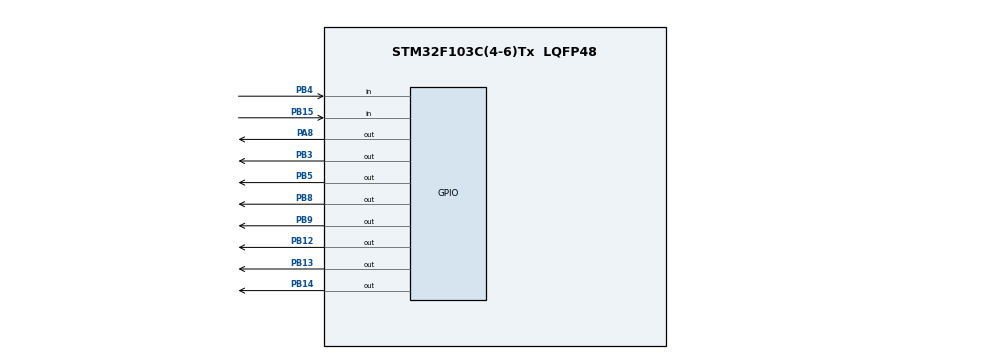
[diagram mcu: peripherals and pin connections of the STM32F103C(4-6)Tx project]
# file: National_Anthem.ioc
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Mcu.Family=STM32F1
PB13.Signal=GPIO_Output
PB15.Signal=GPIO_Input
ProjectManager.StackSize=0x400
PA13.Signal=SYS_JTMS-SWDIO
ProjectManager.TargetToolchain=STM32CubeIDE
PB4.GPIO_PuPd=GPIO_PULLUP
PB14.Signal=GPIO_Output
board=custom
RCC.APB2Freq_Value=8000000
PA14.Mode=Serial_Wire
PA8.Signal=GPIO_Output
PA13.Mode=Serial_Wire
Mcu.Name=STM32F103C(4-6)Tx
PB3.Signal=GPIO_Output
Mcu.Package=LQFP48
PB5.Signal=GPIO_Output
PB9.Signal=GPIO_Output
PB15.GPIO_PuPd=GPIO_PULLUP
PA14.Signal=SYS_JTCK-SWCLK
ProjectManager.HeapSize=0x200
NVIC.PriorityGroup=NVIC_PRIORITYGROUP_4
PB8.Signal=GPIO_Output
RCC.APB1Freq_Value=8000000
PB12.Signal=GPIO_Output
PB4.Signal=GPIO_Input

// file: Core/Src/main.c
/* USER CODE BEGIN Header */
/**
  ******************************************************************************
  * @file           : main.c
  * @brief          : Main program body
  ******************************************************************************
  * @attention
  *
  * <h2><center>&copy; Copyright (c) 2026 STMicroelectronics.
  * All rights reserved.</center></h2>
  *
  * This software component is licensed by ST under BSD 3-Clause license,
  * the "License"; You may not use this file except in compliance with the
  * License. You may obtain a copy of the License at:
  *                        opensource.org/licenses/BSD-3-Clause
  *
  ******************************************************************************
  */
/* USER CODE END Header */
#include "main.h"

/* USER CODE BEGIN PD */
/* USER CODE BEGIN PD */

#define SPEAKER1_PIN  GPIO_PIN_8
#define SPEAKER1_PORT GPIOA   // Mini speaker

#define SPEAKER2_PIN  GPIO_PIN_3
#define SPEAKER2_PORT GPIOB   // Buzzer

/* USER CODE END PD */

/* USER CODE BEGIN PV */
uint8_t musicEnable = 0;   // 0 = OFF, 1 = PLAY
uint8_t lastSwitchState = 1;
int length = 149;

char notes[] =
"cdeeeeeeeeedef eeedddbdc ccgggggggggaf fffffeddf eedeedeggaff "
"eeeeeddbdc cdeeeedf efgggfedfe feeeddbdc ccggggeggggga "
"fffffedfe egc bab aga ccddeedef ";

int beats[] = {
1,1,1,1,1,1,1,1,2,1,1,1,1,1,1,
2,1,1,2,1,1,1,1,1,1,
2,2,1,2,1,1,1,1,1,1,1,2,1,1,
2,1,1,2,1,1,1,1,1,1,
2,1,1,2,1,1,1,1,2,1,1,1,1,
2,1,1,1,1,1,1,1,1,2,1,
1,1,1,1,2,2,2,1,1,
1,1,1,1,2,1,1,1,1,1,1,
2,2,1,1,1,1,1,1,1,1,
1,1,1,1,2,1,1,2,1,1,1,1,1,1,
2,1,1,2,1,1,1,1,1,1,
1,1,4,1,1,1,4,1,1,1,4,1,
1,1,1,1,1,1,1,1,4,1
};

int tempo = 200;

uint8_t ledMode = 0;
/*
0 = Pitch Sync (current behavior)
1 = Beat Sync (new mode)
*/

/* USER CODE END PV */

void SystemClock_Config(void);
static void MX_GPIO_Init(void);

/* USER CODE BEGIN PFP */
/* -------- SOUND -------- */
void delay_us(uint32_t us);
void playTone(uint16_t tone, uint32_t duration);
void playNote(char note, uint32_t duration);

/* -------- MUSIC CONTROL -------- */
void Music_Player_Task(void);
void RedSwitch_Task(void);

/* -------- LED CONTROL -------- */
void LED_AllOff(void);
void LED_Red(void);
void LED_Yellow(void);
void LED_Green(void);

/* -------- NEW LED MODES -------- */

void LED_BeatPulse(uint32_t duration);

/* USER CODE END PFP */

/* USER CODE BEGIN 0 */
/* -------- RED SWITCH TOGGLE -------- */
void RedSwitch_Task(void)
{
    uint8_t currentState = HAL_GPIO_ReadPin(GPIOB, GPIO_PIN_15);

    // Detect press (HIGH -> LOW transition)
    if (lastSwitchState == 1 && currentState == 0)
    {
        HAL_Delay(50); // debounce

        if (HAL_GPIO_ReadPin(GPIOB, GPIO_PIN_15) == 0)
        {
            musicEnable ^= 1;   // Toggle play/stop
        }
    }

    lastSwitchState = currentState;
}

/* -------- MUSIC TASK -------- */
void Music_Player_Task(void)
{
    for (int i = 0; i < length; i++)
    {
        // Check switch continuously
        RedSwitch_Task();

        if (!musicEnable)
        {
            LED_AllOff();
            HAL_GPIO_WritePin(SPEAKER1_PORT, SPEAKER1_PIN, GPIO_PIN_RESET);
            HAL_GPIO_WritePin(SPEAKER2_PORT, SPEAKER2_PIN, GPIO_PIN_RESET);
            return;   // exit immediately
        }

        if (notes[i] == ' ')
        {
            LED_AllOff();
            HAL_Delay(beats[i] * tempo);
        }
        else
        {
            playNote(notes[i], beats[i] * tempo);
        }

        HAL_Delay(tempo / 2);
    }
}

void delay_us(uint32_t us)
{
  uint32_t start = DWT->CYCCNT;
  uint32_t ticks = us * (SystemCoreClock / 1000000);

  while ((DWT->CYCCNT - start) < ticks);
}

/* -------- LED CONTROL -------- */
void LED_AllOff(void)
{
    HAL_GPIO_WritePin(GPIOB,
        GPIO_PIN_12|GPIO_PIN_13|GPIO_PIN_14|
        GPIO_PIN_5|GPIO_PIN_8|GPIO_PIN_9,
        GPIO_PIN_RESET);
}

void LED_Red(void)
{
    LED_AllOff();
    HAL_GPIO_WritePin(GPIOB, GPIO_PIN_9|GPIO_PIN_14, GPIO_PIN_SET);
}

void LED_Yellow(void)
{
    LED_AllOff();
    HAL_GPIO_WritePin(GPIOB, GPIO_PIN_8|GPIO_PIN_13, GPIO_PIN_SET);
}

void LED_Green(void)
{
    LED_AllOff();
    HAL_GPIO_WritePin(GPIOB, GPIO_PIN_5|GPIO_PIN_12, GPIO_PIN_SET);
}

void playTone(uint16_t tone, uint32_t duration)
{
  for (uint32_t i = 0; i < duration * 1000; i += tone * 2)
  {
    RedSwitch_Task();
    if (!musicEnable) return;

    HAL_GPIO_WritePin(SPEAKER1_PORT, SPEAKER1_PIN, GPIO_PIN_SET);
    HAL_GPIO_WritePin(SPEAKER2_PORT, SPEAKER2_PIN, GPIO_PIN_SET);

    delay_us(tone);

    HAL_GPIO_WritePin(SPEAKER1_PORT, SPEAKER1_PIN, GPIO_PIN_RESET);
    HAL_GPIO_WritePin(SPEAKER2_PORT, SPEAKER2_PIN, GPIO_PIN_RESET);

    delay_us(tone);
  }
}

void playNote(char note, uint32_t duration)
{
    char names[] = { 'c', 'd', 'e', 'f', 'g', 'a', 'b', 'C' };
    uint16_t tones[] = { 956, 851, 758, 716, 638, 568, 1014, 478 };

    for (int i = 0; i < 8; i++)
    {
        if (names[i] == note)
        {
            if (ledMode == 0)
            {
                // Pitch mode
                if (tones[i] > 800)        LED_Green();
                else if (tones[i] > 650)   LED_Yellow();
                else                        LED_Red();

                playTone(tones[i], duration);
                LED_AllOff();
            }
            else
            {
                // Beat mode (LED ON at start of note)
                HAL_GPIO_WritePin(GPIOB,
                    GPIO_PIN_5 | GPIO_PIN_8 | GPIO_PIN_9 |
                    GPIO_PIN_12 | GPIO_PIN_13 | GPIO_PIN_14,
                    GPIO_PIN_SET);

                playTone(tones[i], duration);

                LED_AllOff();
            }

        }
    }
}

void LED_BeatPulse(uint32_t duration)
{
    uint32_t onTime = (duration * 4) / 10;

    HAL_GPIO_WritePin(GPIOB,
        GPIO_PIN_5 | GPIO_PIN_8 | GPIO_PIN_9 |
        GPIO_PIN_12 | GPIO_PIN_13 | GPIO_PIN_14,
        GPIO_PIN_SET);

    HAL_Delay(onTime);

    LED_AllOff();
}

/* USER CODE END 0 */

int main(void)
{

  /* MCU Configuration--------------------------------------------------------*/

  /* Reset of all peripherals, Initializes the Flash interface and the Systick. */
  HAL_Init();

  /* Configure the system clock */
  SystemClock_Config();

  /* Initialize all configured peripherals */
  MX_GPIO_Init();
  /* USER CODE BEGIN 2 */
  /* USER CODE BEGIN 2 */

  CoreDebug->DEMCR |= CoreDebug_DEMCR_TRCENA_Msk;
  DWT->CYCCNT = 0;
  DWT->CTRL |= DWT_CTRL_CYCCNTENA_Msk;

  /* USER CODE END 2 */

  /* Infinite loop */
  /* USER CODE BEGIN WHILE */
  while (1)
  {

	      RedSwitch_Task();

	      if (musicEnable)
	      {
	          Music_Player_Task();   // plays full song once
	      }
	      else
	      {
	          LED_AllOff();
	          HAL_GPIO_WritePin(SPEAKER1_PORT, SPEAKER1_PIN, GPIO_PIN_RESET);
	          HAL_GPIO_WritePin(SPEAKER2_PORT, SPEAKER2_PIN, GPIO_PIN_RESET);
	      }

  }
  /* USER CODE END 3 */
}

void SystemClock_Config(void)
{
  RCC_OscInitTypeDef RCC_OscInitStruct = {0};
  RCC_ClkInitTypeDef RCC_ClkInitStruct = {0};

  /** Initializes the RCC Oscillators according to the specified parameters
  * in the RCC_OscInitTypeDef structure.
  */
  RCC_OscInitStruct.OscillatorType = RCC_OSCILLATORTYPE_HSI;
  RCC_OscInitStruct.HSIState = RCC_HSI_ON;
  RCC_OscInitStruct.HSICalibrationValue = RCC_HSICALIBRATION_DEFAULT;
  RCC_OscInitStruct.PLL.PLLState = RCC_PLL_NONE;
  if (HAL_RCC_OscConfig(&RCC_OscInitStruct) != HAL_OK)
  {
    Error_Handler();
  }
  /** Initializes the CPU, AHB and APB buses clocks
  */
  RCC_ClkInitStruct.ClockType = RCC_CLOCKTYPE_HCLK|RCC_CLOCKTYPE_SYSCLK
                              |RCC_CLOCKTYPE_PCLK1|RCC_CLOCKTYPE_PCLK2;
  RCC_ClkInitStruct.SYSCLKSource = RCC_SYSCLKSOURCE_HSI;
  RCC_ClkInitStruct.AHBCLKDivider = RCC_SYSCLK_DIV1;
  RCC_ClkInitStruct.APB1CLKDivider = RCC_HCLK_DIV1;
  RCC_ClkInitStruct.APB2CLKDivider = RCC_HCLK_DIV1;

  if (HAL_RCC_ClockConfig(&RCC_ClkInitStruct, FLASH_LATENCY_0) != HAL_OK)
  {
    Error_Handler();
  }
}

static void MX_GPIO_Init(void)
{
  GPIO_InitTypeDef GPIO_InitStruct = {0};

  /* GPIO Ports Clock Enable */
  __HAL_RCC_GPIOB_CLK_ENABLE();
  __HAL_RCC_GPIOA_CLK_ENABLE();

  /*Configure GPIO pin Output Level */
  HAL_GPIO_WritePin(GPIOB, GPIO_PIN_12|GPIO_PIN_13|GPIO_PIN_14|GPIO_PIN_3
                          |GPIO_PIN_5|GPIO_PIN_8|GPIO_PIN_9, GPIO_PIN_RESET);

  /*Configure GPIO pin Output Level */
  HAL_GPIO_WritePin(GPIOA, GPIO_PIN_8, GPIO_PIN_RESET);

  /*Configure GPIO pins : PB12 PB13 PB14 PB3
                           PB5 PB8 PB9 */
  GPIO_InitStruct.Pin = GPIO_PIN_12|GPIO_PIN_13|GPIO_PIN_14|GPIO_PIN_3
                          |GPIO_PIN_5|GPIO_PIN_8|GPIO_PIN_9;
  GPIO_InitStruct.Mode = GPIO_MODE_OUTPUT_PP;
  GPIO_InitStruct.Pull = GPIO_NOPULL;
  GPIO_InitStruct.Speed = GPIO_SPEED_FREQ_HIGH;
  HAL_GPIO_Init(GPIOB, &GPIO_InitStruct);

  /*Configure GPIO pins : PB15 PB4 */
  GPIO_InitStruct.Pin = GPIO_PIN_15|GPIO_PIN_4;
  GPIO_InitStruct.Mode = GPIO_MODE_INPUT;
  GPIO_InitStruct.Pull = GPIO_PULLUP;
  HAL_GPIO_Init(GPIOB, &GPIO_InitStruct);

  /*Configure GPIO pin : PA8 */
  GPIO_InitStruct.Pin = GPIO_PIN_8;
  GPIO_InitStruct.Mode = GPIO_MODE_OUTPUT_PP;
  GPIO_InitStruct.Pull = GPIO_NOPULL;
  GPIO_InitStruct.Speed = GPIO_SPEED_FREQ_HIGH;
  HAL_GPIO_Init(GPIOA, &GPIO_InitStruct);

}

void Error_Handler(void)
{
  __disable_irq();
  while (1)
  {
  }
}

/************************ (C) COPYRIGHT STMicroelectronics *****END OF FILE****/
